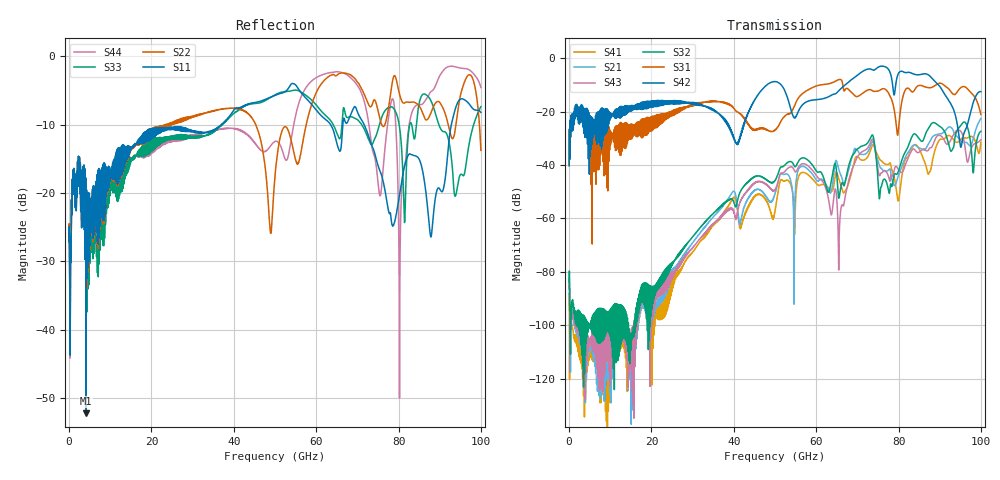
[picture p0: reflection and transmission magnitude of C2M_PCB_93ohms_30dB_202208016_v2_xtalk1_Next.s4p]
! Info: Touchstone file created by Circ.  Input file=Intel_C2M_200G_13p5in_202208016_staggered.circ
# Hz S RI R 50
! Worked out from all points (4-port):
!   10000 points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, 10 MHz to 100 GHz, reference 50 ohm
!   strongest paths, dB at 10 MHz, 25.01 GHz, 50.01 GHz, 75.01 GHz, 100 GHz:
!     S42: -40.2, -16.8, -8.7, -3.4, -12.5
!     S31: -40.2, -21.2, -27.0, -12.3, -21.1
!     S32: -83.9, -77.5, -45.8, -45.5, -27.4
!     S43: -85.2, -81.7, -49.4, -41.5, -30.5
!     S21: -85.6, -80.8, -50.6, -38.3, -22.6
!     S41: -88.1, -83.0, -57.2, -36.6, -31.6
!   lowest |S11| = -52.2 dB at 4.14 GHz (marker M1), VSWR 1.00, Z = 50.2 + j0.117 ohm
!   |S11| at or under -10 dB: start of sweep to 36.97 GHz; 63.49 GHz to 66.47 GHz (2.98 GHz wide, 4.59 % of centre); 71.65 GHz to 92.82 GHz (21.17 GHz wide, 25.7 % of centre)
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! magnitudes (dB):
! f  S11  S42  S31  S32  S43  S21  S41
! 10 MHz  -27.1  -40.2  -40.2  -83.9  -85.2  -85.6  -88.1
! 4.14 GHz  -52.2  -18.9  -20.9  -101.5  -107.5  -107.0  -111.9
! 40.82 GHz  -7.6  -32.0  -20.0  -53.7  -57.9  -55.0  -56.2
! 73.49 GHz  -13.1  -4.2  -12.0  -28.9  -30.5  -31.6  -33.1
! 76.12 GHz  -17.9  -3.0  -11.4  -46.3  -42.6  -41.9  -38.9
! 95.19 GHz  -6.2  -33.2  -10.9  -25.0  -27.5  -31.0  -30.2
! 100 GHz  -8.2  -12.5  -21.1  -27.4  -30.5  -22.6  -31.6
